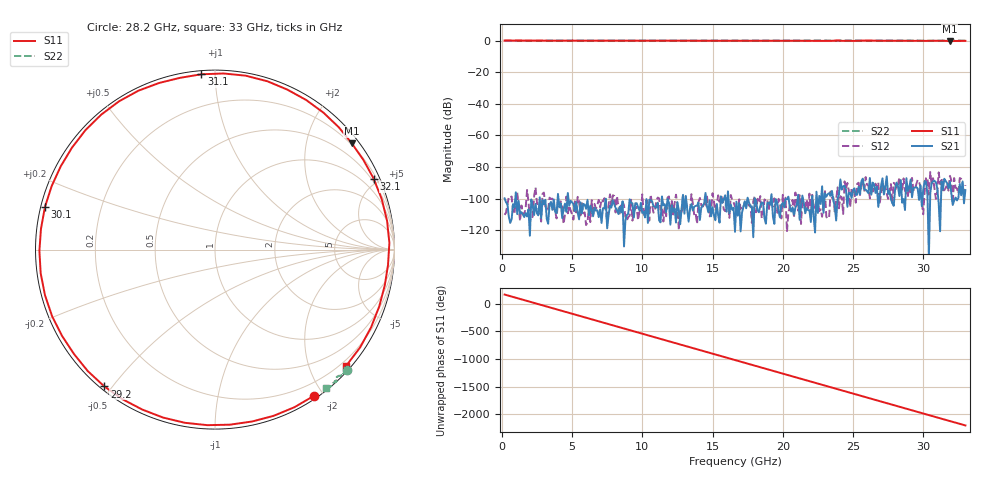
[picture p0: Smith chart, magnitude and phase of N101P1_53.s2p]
# GHZ S RI R 50
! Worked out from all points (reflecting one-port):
!   329 points, 200 MHz to 33 GHz, reference 50 ohm
!   lowest |S11| = -0.3 dB at 31.9 GHz (marker M1), VSWR 56.41, Z = 8.4 + j145 ohm
!   phase of S11 starts at 165 deg and turns -2367 deg over the sweep
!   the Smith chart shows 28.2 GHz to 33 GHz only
!   S11 on the Smith chart (normalised r, x): 28.2 GHz: 0.04, -1.88; 29.2 GHz: 0.01, -0.48; 30.1 GHz: 0.01, +0.12; 31.1 GHz: 0.02, +0.92; 32.1 GHz: 0.37, +4.67; 33 GHz: 0.10, -2.64
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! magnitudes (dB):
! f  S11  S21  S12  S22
! 200 MHz  0.0  -99.7  -110.2  0.0
! 5.7 GHz  -0.1  -109.1  -101.5  0.0
! 11.2 GHz  -0.1  -113.6  -99.8  0.0
! 16.6 GHz  -0.1  -120.9  -104.9  0.0
! 22.1 GHz  -0.2  -98.2  -97.5  0.0
! 23 GHz  -0.2  -96.6  -94.7  0.0
! 23.4 GHz  -0.3  -98.1  -95.4  0.0
! 24 GHz  0.0  -97.4  -106.0  0.0
! 24.3 GHz  -0.2  -92.0  -109.6  0.0
! 24.6 GHz  -0.1  -105.1  -90.0  0.0
! 25 GHz  -0.2  -94.5  -95.4  0.0
! 25.6 GHz  0.0  -88.8  -89.7  -0.1
! 27.6 GHz  -0.1  -95.1  -94.9  0.0
! 28.2 GHz  -0.1  -92.1  -90.8  0.0
! 29.2 GHz  -0.2  -99.0  -86.8  -0.1
! 29.6 GHz  -0.2  -93.4  -88.1  0.0
! 30.1 GHz  -0.2  -88.7  -95.2  -0.1
! 31.1 GHz  -0.2  -103.0  -83.3  0.0
! 31.4 GHz  -0.2  -94.2  -94.6  -0.1
! 31.9 GHz  -0.3  -89.2  -85.5  0.0
! 32.1 GHz  -0.3  -103.9  -103.3  0.0
! 33 GHz  -0.2  -94.6  -91.3  -0.1
